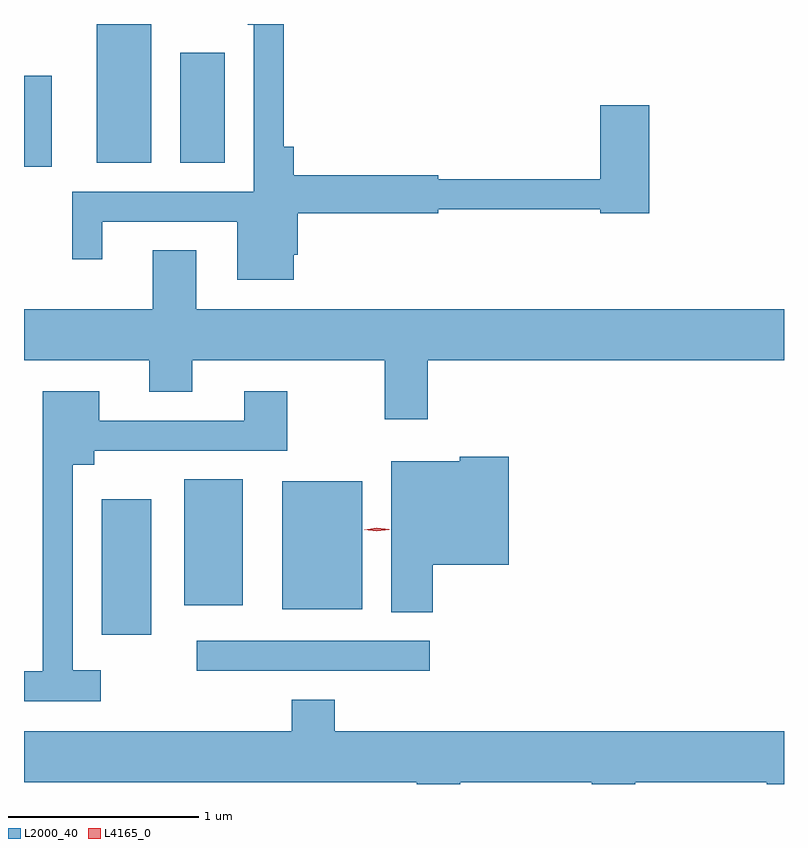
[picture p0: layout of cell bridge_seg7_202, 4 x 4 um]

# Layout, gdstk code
import gdstk
lib = gdstk.Library(unit=1e-6, precision=1e-09)
def R(c, l, rs):  # rectangles x0, y0, x1, y1
    for r in rs: c.add(gdstk.rectangle(r[:2], r[2:], *l))
def P(c, l, *ps):  # polygons
    for p in ps: c.add(gdstk.Polygon(p, *l))
L2000_40 = (2000, 40)
L4165_0 = (4165, 0)

bridge_seg7_202 = lib.new_cell('bridge_seg7_202')
R(bridge_seg7_202, L2000_40, [(1509.253,1677.161,1510.478,1677.319), (1508.751,1677.351,1509.014,1678.064), (1509.701,1677.486,1510.124,1678.159), (1509.186,1677.506,1509.494,1678.169), (1508.343,1679.816,1508.489,1680.294), (1508.726,1679.836,1509.014,1680.566), (1509.166,1679.836,1509.399,1680.414)])
P(bridge_seg7_202, L2000_40, [(1509.764,1679.351),(1509.784,1679.351),(1509.784,1679.571),(1510.524,1679.571),(1510.524,1679.591),(1511.376,1679.591),(1511.376,1679.571),(1511.634,1679.571),(1511.634,1680.139),(1511.376,1680.139),(1511.376,1679.749),(1510.524,1679.749),(1510.524,1679.769),(1509.764,1679.769),(1509.764,1679.919),(1509.709,1679.919),(1509.709,1680.566),(1509.521,1680.566),(1509.521,1680.561),(1509.551,1680.561),(1509.551,1679.684),(1508.596,1679.684),(1508.596,1679.328),(1508.754,1679.328),(1508.754,1679.526),(1509.466,1679.526),(1509.466,1679.221),(1509.764,1679.221)],
  [(1510.469,1678.796),(1512.343,1678.796),(1512.343,1679.064),(1509.249,1679.064),(1509.249,1679.374),(1509.021,1679.374),(1509.021,1679.064),(1508.343,1679.064),(1508.343,1678.796),(1509.001,1678.796),(1509.001,1678.631),(1509.229,1678.631),(1509.229,1678.796),(1510.241,1678.796),(1510.241,1678.486),(1510.469,1678.486)],
  [(1508.748,1677.164),(1508.599,1677.164),(1508.599,1678.246),(1508.714,1678.246),(1508.714,1678.321),(1509.729,1678.321),(1509.729,1678.634),(1509.501,1678.634),(1509.501,1678.479),(1508.739,1678.479),(1508.739,1678.634),(1508.441,1678.634),(1508.441,1677.159),(1508.343,1677.159),(1508.343,1677.001),(1508.748,1677.001)],
  [(1510.494,1677.721),(1510.894,1677.721),(1510.894,1678.289),(1510.636,1678.289),(1510.636,1678.264),(1510.276,1678.264),(1510.276,1677.471),(1510.494,1677.471)],
  [(1509.751,1677.009),(1509.751,1676.844),(1508.343,1676.844),(1508.343,1676.576),(1510.411,1676.576),(1510.411,1676.566),(1510.639,1676.566),(1510.639,1676.576),(1511.331,1676.576),(1511.331,1676.566),(1511.559,1676.566),(1511.559,1676.576),(1512.251,1676.576),(1512.251,1676.566),(1512.343,1676.566),(1512.343,1676.844),(1509.979,1676.844),(1509.979,1677.009)])
P(bridge_seg7_202, L4165_0, [(1510.2,1677.895),(1510.134,1677.904),(1510.134,1677.904),(1510.134,1677.904),(1510.2,1677.915),(1510.266,1677.906),(1510.266,1677.906),(1510.266,1677.905)])

lib.write_gds('bridge_seg7_202.gds')
